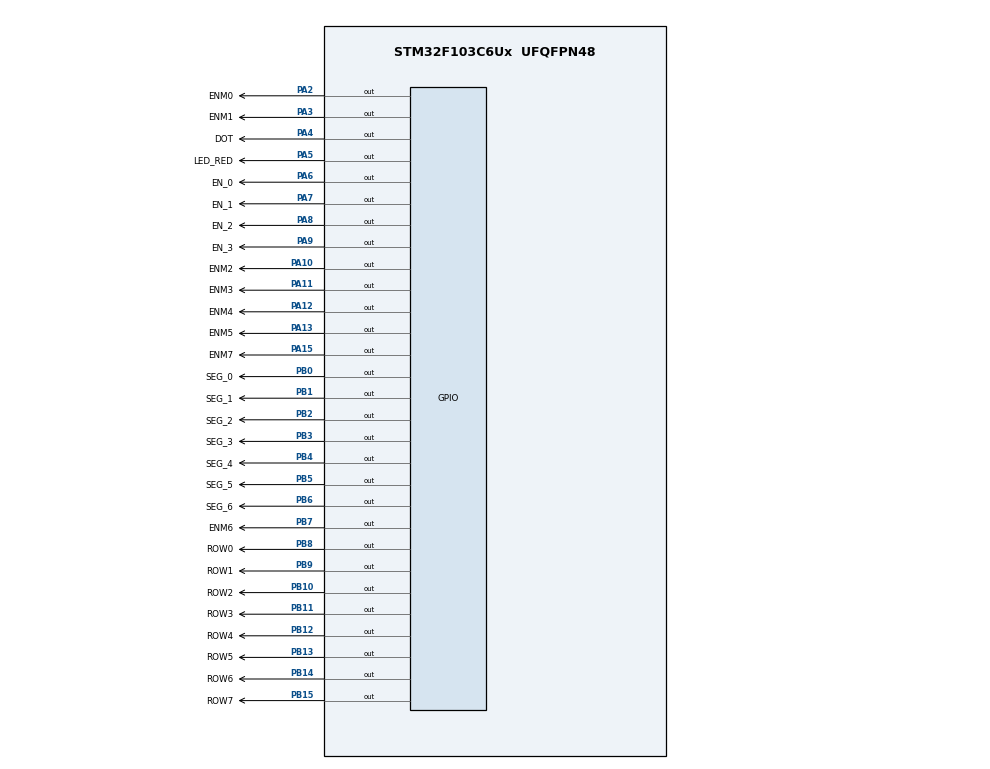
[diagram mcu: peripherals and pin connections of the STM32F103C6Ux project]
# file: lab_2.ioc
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Mcu.Family=STM32F1
Mcu.Name=STM32F103C6Ux
Mcu.Package=UFQFPN48
NVIC.PriorityGroup=NVIC_PRIORITYGROUP_4
NVIC.TIM2_IRQn=true\:0\:0\:false\:false\:true\:true\:true\:true
PA10.GPIO_Label=ENM2
PA10.Signal=GPIO_Output
PA11.GPIO_Label=ENM3
PA11.Signal=GPIO_Output
PA12.GPIO_Label=ENM4
PA12.Signal=GPIO_Output
PA13.GPIO_Label=ENM5
PA13.Signal=GPIO_Output
PA15.GPIO_Label=ENM7
PA15.Signal=GPIO_Output
PA2.GPIO_Label=ENM0
PA2.Signal=GPIO_Output
PA3.GPIO_Label=ENM1
PA3.Signal=GPIO_Output
PA4.GPIO_Label=DOT
PA4.Signal=GPIO_Output
PA5.GPIO_Label=LED_RED
PA5.Signal=GPIO_Output
PA6.GPIO_Label=EN_0
PA6.Signal=GPIO_Output
PA7.GPIO_Label=EN_1
PA7.Signal=GPIO_Output
PA8.GPIO_Label=EN_2
PA8.Signal=GPIO_Output
PA9.GPIO_Label=EN_3
PA9.Signal=GPIO_Output
PB0.GPIO_Label=SEG_0
PB0.Signal=GPIO_Output
PB1.GPIO_Label=SEG_1
PB1.Signal=GPIO_Output
PB10.GPIO_Label=ROW2
PB10.Signal=GPIO_Output
PB11.GPIO_Label=ROW3
PB11.Signal=GPIO_Output
PB12.GPIO_Label=ROW4
PB12.Signal=GPIO_Output
PB13.GPIO_Label=ROW5
PB13.Signal=GPIO_Output
PB14.GPIO_Label=ROW6
PB14.Signal=GPIO_Output
PB15.GPIO_Label=ROW7
PB15.Signal=GPIO_Output
PB2.GPIO_Label=SEG_2
PB2.Signal=GPIO_Output
PB3.GPIO_Label=SEG_3
PB3.Signal=GPIO_Output
PB4.GPIO_Label=SEG_4
PB4.Signal=GPIO_Output
PB5.GPIO_Label=SEG_5
PB5.Signal=GPIO_Output
PB6.GPIO_Label=SEG_6
PB6.Signal=GPIO_Output
PB7.GPIO_Label=ENM6
PB7.Signal=GPIO_Output
PB8.GPIO_Label=ROW0
PB8.Signal=GPIO_Output
PB9.GPIO_Label=ROW1
PB9.Signal=GPIO_Output
ProjectManager.HeapSize=0x200
ProjectManager.StackSize=0x400
ProjectManager.TargetToolchain=STM32CubeIDE
RCC.APB1Freq_Value=8000000
RCC.APB2Freq_Value=8000000
TIM2.Period=9
TIM2.Prescaler=7999
VP_SYS_VS_ND.Mode=No_Debug
VP_TIM2_VS_ClockSourceINT.Mode=Internal
board=custom

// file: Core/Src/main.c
/* USER CODE BEGIN Header */
/**
  ******************************************************************************
  * @file           : main.c
  * @brief          : Main program body
  ******************************************************************************
  * @attention
  *
  * Copyright (c) 2024 STMicroelectronics.
  * All rights reserved.
  *
  * This software is licensed under terms that can be found in the LICENSE file
  * in the root directory of this software component.
  * If no LICENSE file comes with this software, it is provided AS-IS.
  *
  ******************************************************************************
  */
/* USER CODE END Header */
#include "main.h"

/* USER CODE BEGIN Includes */
#include "software_timer.h"
/* USER CODE END Includes */

TIM_HandleTypeDef htim2;

void SystemClock_Config(void);
static void MX_GPIO_Init(void);
static void MX_TIM2_Init(void);

/* USER CODE BEGIN 0 */
void display7SEG(int num){
switch (num) {
	case 0:
		HAL_GPIO_WritePin(SEG_0_GPIO_Port,SEG_0_Pin,GPIO_PIN_RESET);
		HAL_GPIO_WritePin(SEG_1_GPIO_Port,SEG_1_Pin,GPIO_PIN_RESET);
		HAL_GPIO_WritePin(SEG_2_GPIO_Port,SEG_2_Pin,GPIO_PIN_RESET);
		HAL_GPIO_WritePin(SEG_3_GPIO_Port,SEG_3_Pin,GPIO_PIN_RESET);
		HAL_GPIO_WritePin(SEG_4_GPIO_Port,SEG_4_Pin,GPIO_PIN_RESET);
		HAL_GPIO_WritePin(SEG_5_GPIO_Port,SEG_5_Pin,GPIO_PIN_RESET);
		HAL_GPIO_WritePin(SEG_6_GPIO_Port,SEG_6_Pin,GPIO_PIN_SET);
		break;
	case 1:
		HAL_GPIO_WritePin(SEG_0_GPIO_Port,SEG_0_Pin,GPIO_PIN_SET);
		HAL_GPIO_WritePin(SEG_1_GPIO_Port,SEG_1_Pin,GPIO_PIN_RESET);
		HAL_GPIO_WritePin(SEG_2_GPIO_Port,SEG_2_Pin,GPIO_PIN_RESET);
		HAL_GPIO_WritePin(SEG_3_GPIO_Port,SEG_3_Pin,GPIO_PIN_SET);
		HAL_GPIO_WritePin(SEG_4_GPIO_Port,SEG_4_Pin,GPIO_PIN_SET);
		HAL_GPIO_WritePin(SEG_5_GPIO_Port,SEG_5_Pin,GPIO_PIN_SET);
		HAL_GPIO_WritePin(SEG_6_GPIO_Port,SEG_6_Pin,GPIO_PIN_SET);
		break;
	case 2:
		HAL_GPIO_WritePin(SEG_0_GPIO_Port,SEG_0_Pin,GPIO_PIN_RESET);
		HAL_GPIO_WritePin(SEG_1_GPIO_Port,SEG_1_Pin,GPIO_PIN_RESET);
		HAL_GPIO_WritePin(SEG_2_GPIO_Port,SEG_2_Pin,GPIO_PIN_SET);
		HAL_GPIO_WritePin(SEG_3_GPIO_Port,SEG_3_Pin,GPIO_PIN_RESET);
		HAL_GPIO_WritePin(SEG_4_GPIO_Port,SEG_4_Pin,GPIO_PIN_RESET);
		HAL_GPIO_WritePin(SEG_5_GPIO_Port,SEG_5_Pin,GPIO_PIN_SET);
		HAL_GPIO_WritePin(SEG_6_GPIO_Port,SEG_6_Pin,GPIO_PIN_RESET);
		break;
	case 3:
		HAL_GPIO_WritePin(SEG_0_GPIO_Port,SEG_0_Pin,GPIO_PIN_RESET);
		HAL_GPIO_WritePin(SEG_1_GPIO_Port,SEG_1_Pin,GPIO_PIN_RESET);
		HAL_GPIO_WritePin(SEG_2_GPIO_Port,SEG_2_Pin,GPIO_PIN_RESET);
		HAL_GPIO_WritePin(SEG_3_GPIO_Port,SEG_3_Pin,GPIO_PIN_RESET);
		HAL_GPIO_WritePin(SEG_4_GPIO_Port,SEG_4_Pin,GPIO_PIN_SET);
		HAL_GPIO_WritePin(SEG_5_GPIO_Port,SEG_5_Pin,GPIO_PIN_SET);
		HAL_GPIO_WritePin(SEG_6_GPIO_Port,SEG_6_Pin,GPIO_PIN_RESET);
		break;
	case 4:
		HAL_GPIO_WritePin(SEG_0_GPIO_Port,SEG_0_Pin,GPIO_PIN_SET);
		HAL_GPIO_WritePin(SEG_1_GPIO_Port,SEG_1_Pin,GPIO_PIN_RESET);
		HAL_GPIO_WritePin(SEG_2_GPIO_Port,SEG_2_Pin,GPIO_PIN_RESET);
		HAL_GPIO_WritePin(SEG_3_GPIO_Port,SEG_3_Pin,GPIO_PIN_SET);
		HAL_GPIO_WritePin(SEG_4_GPIO_Port,SEG_4_Pin,GPIO_PIN_SET);
		HAL_GPIO_WritePin(SEG_5_GPIO_Port,SEG_5_Pin,GPIO_PIN_RESET);
		HAL_GPIO_WritePin(SEG_6_GPIO_Port,SEG_6_Pin,GPIO_PIN_RESET);
		break;
	case 5:
		HAL_GPIO_WritePin(SEG_0_GPIO_Port,SEG_0_Pin,GPIO_PIN_RESET);
		HAL_GPIO_WritePin(SEG_1_GPIO_Port,SEG_1_Pin,GPIO_PIN_SET);
		HAL_GPIO_WritePin(SEG_2_GPIO_Port,SEG_2_Pin,GPIO_PIN_RESET);
		HAL_GPIO_WritePin(SEG_3_GPIO_Port,SEG_3_Pin,GPIO_PIN_RESET);
		HAL_GPIO_WritePin(SEG_4_GPIO_Port,SEG_4_Pin,GPIO_PIN_SET);
		HAL_GPIO_WritePin(SEG_5_GPIO_Port,SEG_5_Pin,GPIO_PIN_RESET);
		HAL_GPIO_WritePin(SEG_6_GPIO_Port,SEG_6_Pin,GPIO_PIN_RESET);
		break;
	case 6:
		HAL_GPIO_WritePin(SEG_0_GPIO_Port,SEG_0_Pin,GPIO_PIN_RESET);
		HAL_GPIO_WritePin(SEG_1_GPIO_Port,SEG_1_Pin,GPIO_PIN_SET);
		HAL_GPIO_WritePin(SEG_2_GPIO_Port,SEG_2_Pin,GPIO_PIN_RESET);
		HAL_GPIO_WritePin(SEG_3_GPIO_Port,SEG_3_Pin,GPIO_PIN_RESET);
		HAL_GPIO_WritePin(SEG_4_GPIO_Port,SEG_4_Pin,GPIO_PIN_RESET);
		HAL_GPIO_WritePin(SEG_5_GPIO_Port,SEG_5_Pin,GPIO_PIN_RESET);
		HAL_GPIO_WritePin(SEG_6_GPIO_Port,SEG_6_Pin,GPIO_PIN_RESET);
		break;
	case 7:
		HAL_GPIO_WritePin(SEG_0_GPIO_Port,SEG_0_Pin,GPIO_PIN_RESET);
		HAL_GPIO_WritePin(SEG_1_GPIO_Port,SEG_1_Pin,GPIO_PIN_RESET);
		HAL_GPIO_WritePin(SEG_2_GPIO_Port,SEG_2_Pin,GPIO_PIN_RESET);
		HAL_GPIO_WritePin(SEG_3_GPIO_Port,SEG_3_Pin,GPIO_PIN_SET);
		HAL_GPIO_WritePin(SEG_4_GPIO_Port,SEG_4_Pin,GPIO_PIN_SET);
		HAL_GPIO_WritePin(SEG_5_GPIO_Port,SEG_5_Pin,GPIO_PIN_SET);
		HAL_GPIO_WritePin(SEG_6_GPIO_Port,SEG_6_Pin,GPIO_PIN_SET);
		break;
	case 8:
		HAL_GPIO_WritePin(SEG_0_GPIO_Port,SEG_0_Pin,GPIO_PIN_RESET);
		HAL_GPIO_WritePin(SEG_1_GPIO_Port,SEG_1_Pin,GPIO_PIN_RESET);
		HAL_GPIO_WritePin(SEG_2_GPIO_Port,SEG_2_Pin,GPIO_PIN_RESET);
		HAL_GPIO_WritePin(SEG_3_GPIO_Port,SEG_3_Pin,GPIO_PIN_RESET);
		HAL_GPIO_WritePin(SEG_4_GPIO_Port,SEG_4_Pin,GPIO_PIN_RESET);
		HAL_GPIO_WritePin(SEG_5_GPIO_Port,SEG_5_Pin,GPIO_PIN_RESET);
		HAL_GPIO_WritePin(SEG_6_GPIO_Port,SEG_6_Pin,GPIO_PIN_RESET);
		break;
	case 9:
		HAL_GPIO_WritePin(SEG_0_GPIO_Port,SEG_0_Pin,GPIO_PIN_RESET);
		HAL_GPIO_WritePin(SEG_1_GPIO_Port,SEG_1_Pin,GPIO_PIN_RESET);
		HAL_GPIO_WritePin(SEG_2_GPIO_Port,SEG_2_Pin,GPIO_PIN_RESET);
		HAL_GPIO_WritePin(SEG_3_GPIO_Port,SEG_3_Pin,GPIO_PIN_RESET);
		HAL_GPIO_WritePin(SEG_4_GPIO_Port,SEG_4_Pin,GPIO_PIN_SET);
		HAL_GPIO_WritePin(SEG_5_GPIO_Port,SEG_5_Pin,GPIO_PIN_RESET);
		HAL_GPIO_WritePin(SEG_6_GPIO_Port,SEG_6_Pin,GPIO_PIN_RESET);
		break;
	default:
		HAL_GPIO_WritePin(SEG_0_GPIO_Port,SEG_0_Pin,GPIO_PIN_SET);
		HAL_GPIO_WritePin(SEG_1_GPIO_Port,SEG_1_Pin,GPIO_PIN_SET);
		HAL_GPIO_WritePin(SEG_2_GPIO_Port,SEG_2_Pin,GPIO_PIN_SET);
		HAL_GPIO_WritePin(SEG_3_GPIO_Port,SEG_3_Pin,GPIO_PIN_SET);
		HAL_GPIO_WritePin(SEG_4_GPIO_Port,SEG_4_Pin,GPIO_PIN_SET);
		HAL_GPIO_WritePin(SEG_5_GPIO_Port,SEG_5_Pin,GPIO_PIN_SET);
		HAL_GPIO_WritePin(SEG_6_GPIO_Port,SEG_6_Pin,GPIO_PIN_SET);
		break;
	}
}
const int MAX_LED = 4;
int index_led = 0;
int led_buffer[4] = {1, 2, 3, 4};

void update7SEG(int index) {
	switch (index) {
		case 0:
			HAL_GPIO_WritePin(EN_0_GPIO_Port, EN_0_Pin, GPIO_PIN_RESET);
			HAL_GPIO_WritePin(EN_1_GPIO_Port, EN_1_Pin, GPIO_PIN_SET);
			HAL_GPIO_WritePin(EN_2_GPIO_Port, EN_2_Pin, GPIO_PIN_SET);
			HAL_GPIO_WritePin(EN_3_GPIO_Port, EN_3_Pin, GPIO_PIN_SET);
	        display7SEG(led_buffer[0]);
			break;
	    case 1:
	    	HAL_GPIO_WritePin(EN_0_GPIO_Port, EN_0_Pin, GPIO_PIN_SET);
	    	HAL_GPIO_WritePin(EN_1_GPIO_Port, EN_1_Pin, GPIO_PIN_RESET);
	    	HAL_GPIO_WritePin(EN_2_GPIO_Port, EN_2_Pin, GPIO_PIN_SET);
	    	HAL_GPIO_WritePin(EN_3_GPIO_Port, EN_3_Pin, GPIO_PIN_SET);
	        display7SEG(led_buffer[1]);
	        break;
	    case 2:
	    	HAL_GPIO_WritePin(EN_0_GPIO_Port, EN_0_Pin, GPIO_PIN_SET);
	    	HAL_GPIO_WritePin(EN_1_GPIO_Port, EN_1_Pin, GPIO_PIN_SET);
	    	HAL_GPIO_WritePin(EN_2_GPIO_Port, EN_2_Pin, GPIO_PIN_RESET);
	    	HAL_GPIO_WritePin(EN_3_GPIO_Port, EN_3_Pin, GPIO_PIN_SET);
	        display7SEG(led_buffer[2]);
	        break;
	    case 3:
	    	HAL_GPIO_WritePin(EN_0_GPIO_Port, EN_0_Pin, GPIO_PIN_SET);
	    	HAL_GPIO_WritePin(EN_1_GPIO_Port, EN_1_Pin, GPIO_PIN_SET);
	    	HAL_GPIO_WritePin(EN_2_GPIO_Port, EN_2_Pin, GPIO_PIN_SET);
	    	HAL_GPIO_WritePin(EN_3_GPIO_Port, EN_3_Pin, GPIO_PIN_RESET);
	        display7SEG(led_buffer[3]);
	        break;
	    default:
	        break;
	    }
	}
/* USER CODE END 0 */

int main(void)
{

  /* MCU Configuration--------------------------------------------------------*/

  /* Reset of all peripherals, Initializes the Flash interface and the Systick. */
  HAL_Init();

  /* Configure the system clock */
  SystemClock_Config();

  /* Initialize all configured peripherals */
  MX_GPIO_Init();
  MX_TIM2_Init();
  /* USER CODE BEGIN 2 */
  HAL_TIM_Base_Start_IT(&htim2);
  /* USER CODE END 2 */

  /* Infinite loop */
  /* USER CODE BEGIN WHILE */
  setTimer1(50);
  int index=0;
  while (1)
  {
	  	if (timer1_flag == 1) {
	  		setTimer1(100);
	  		update7SEG(index);
	  		index++;
	  		if (index > 3) index = 0;
	  	}
    /* USER CODE END WHILE */

  }
}

void SystemClock_Config(void)
{
  RCC_OscInitTypeDef RCC_OscInitStruct = {0};
  RCC_ClkInitTypeDef RCC_ClkInitStruct = {0};

  /** Initializes the RCC Oscillators according to the specified parameters
  * in the RCC_OscInitTypeDef structure.
  */
  RCC_OscInitStruct.OscillatorType = RCC_OSCILLATORTYPE_HSI;
  RCC_OscInitStruct.HSIState = RCC_HSI_ON;
  RCC_OscInitStruct.HSICalibrationValue = RCC_HSICALIBRATION_DEFAULT;
  RCC_OscInitStruct.PLL.PLLState = RCC_PLL_NONE;
  if (HAL_RCC_OscConfig(&RCC_OscInitStruct) != HAL_OK)
  {
    Error_Handler();
  }

  /** Initializes the CPU, AHB and APB buses clocks
  */
  RCC_ClkInitStruct.ClockType = RCC_CLOCKTYPE_HCLK|RCC_CLOCKTYPE_SYSCLK
                              |RCC_CLOCKTYPE_PCLK1|RCC_CLOCKTYPE_PCLK2;
  RCC_ClkInitStruct.SYSCLKSource = RCC_SYSCLKSOURCE_HSI;
  RCC_ClkInitStruct.AHBCLKDivider = RCC_SYSCLK_DIV1;
  RCC_ClkInitStruct.APB1CLKDivider = RCC_HCLK_DIV1;
  RCC_ClkInitStruct.APB2CLKDivider = RCC_HCLK_DIV1;

  if (HAL_RCC_ClockConfig(&RCC_ClkInitStruct, FLASH_LATENCY_0) != HAL_OK)
  {
    Error_Handler();
  }
}

static void MX_TIM2_Init(void)
{

  TIM_ClockConfigTypeDef sClockSourceConfig = {0};
  TIM_MasterConfigTypeDef sMasterConfig = {0};

  htim2.Instance = TIM2;
  htim2.Init.Prescaler = 7999;
  htim2.Init.CounterMode = TIM_COUNTERMODE_UP;
  htim2.Init.Period = 9;
  htim2.Init.ClockDivision = TIM_CLOCKDIVISION_DIV1;
  htim2.Init.AutoReloadPreload = TIM_AUTORELOAD_PRELOAD_DISABLE;
  if (HAL_TIM_Base_Init(&htim2) != HAL_OK)
  {
    Error_Handler();
  }
  sClockSourceConfig.ClockSource = TIM_CLOCKSOURCE_INTERNAL;
  if (HAL_TIM_ConfigClockSource(&htim2, &sClockSourceConfig) != HAL_OK)
  {
    Error_Handler();
  }
  sMasterConfig.MasterOutputTrigger = TIM_TRGO_RESET;
  sMasterConfig.MasterSlaveMode = TIM_MASTERSLAVEMODE_DISABLE;
  if (HAL_TIMEx_MasterConfigSynchronization(&htim2, &sMasterConfig) != HAL_OK)
  {
    Error_Handler();
  }

}

static void MX_GPIO_Init(void)
{
  GPIO_InitTypeDef GPIO_InitStruct = {0};

  /* GPIO Ports Clock Enable */
  __HAL_RCC_GPIOA_CLK_ENABLE();
  __HAL_RCC_GPIOB_CLK_ENABLE();

  /*Configure GPIO pin Output Level */
  HAL_GPIO_WritePin(GPIOA, DOT_Pin|LED_RED_Pin|EN_0_Pin|EN_1_Pin
                          |EN_2_Pin|EN_3_Pin, GPIO_PIN_RESET);

  /*Configure GPIO pin Output Level */
  HAL_GPIO_WritePin(GPIOB, SEG_0_Pin|SEG_1_Pin|SEG_2_Pin|SEG_3_Pin
                          |SEG_4_Pin|SEG_5_Pin|SEG_6_Pin, GPIO_PIN_RESET);

  /*Configure GPIO pins : DOT_Pin LED_RED_Pin EN_0_Pin EN_1_Pin
                           EN_2_Pin EN_3_Pin */
  GPIO_InitStruct.Pin = DOT_Pin|LED_RED_Pin|EN_0_Pin|EN_1_Pin
                          |EN_2_Pin|EN_3_Pin;
  GPIO_InitStruct.Mode = GPIO_MODE_OUTPUT_PP;
  GPIO_InitStruct.Pull = GPIO_NOPULL;
  GPIO_InitStruct.Speed = GPIO_SPEED_FREQ_LOW;
  HAL_GPIO_Init(GPIOA, &GPIO_InitStruct);

  /*Configure GPIO pins : SEG_0_Pin SEG_1_Pin SEG_2_Pin SEG_3_Pin
                           SEG_4_Pin SEG_5_Pin SEG_6_Pin */
  GPIO_InitStruct.Pin = SEG_0_Pin|SEG_1_Pin|SEG_2_Pin|SEG_3_Pin
                          |SEG_4_Pin|SEG_5_Pin|SEG_6_Pin;
  GPIO_InitStruct.Mode = GPIO_MODE_OUTPUT_PP;
  GPIO_InitStruct.Pull = GPIO_NOPULL;
  GPIO_InitStruct.Speed = GPIO_SPEED_FREQ_LOW;
  HAL_GPIO_Init(GPIOB, &GPIO_InitStruct);

}

/* USER CODE BEGIN 4 */
void HAL_TIM_PeriodElapsedCallback(TIM_HandleTypeDef *htim){
	timerRun();
}
/* USER CODE END 4 */

void Error_Handler(void)
{
  __disable_irq();
  while (1)
  {
  }
}
